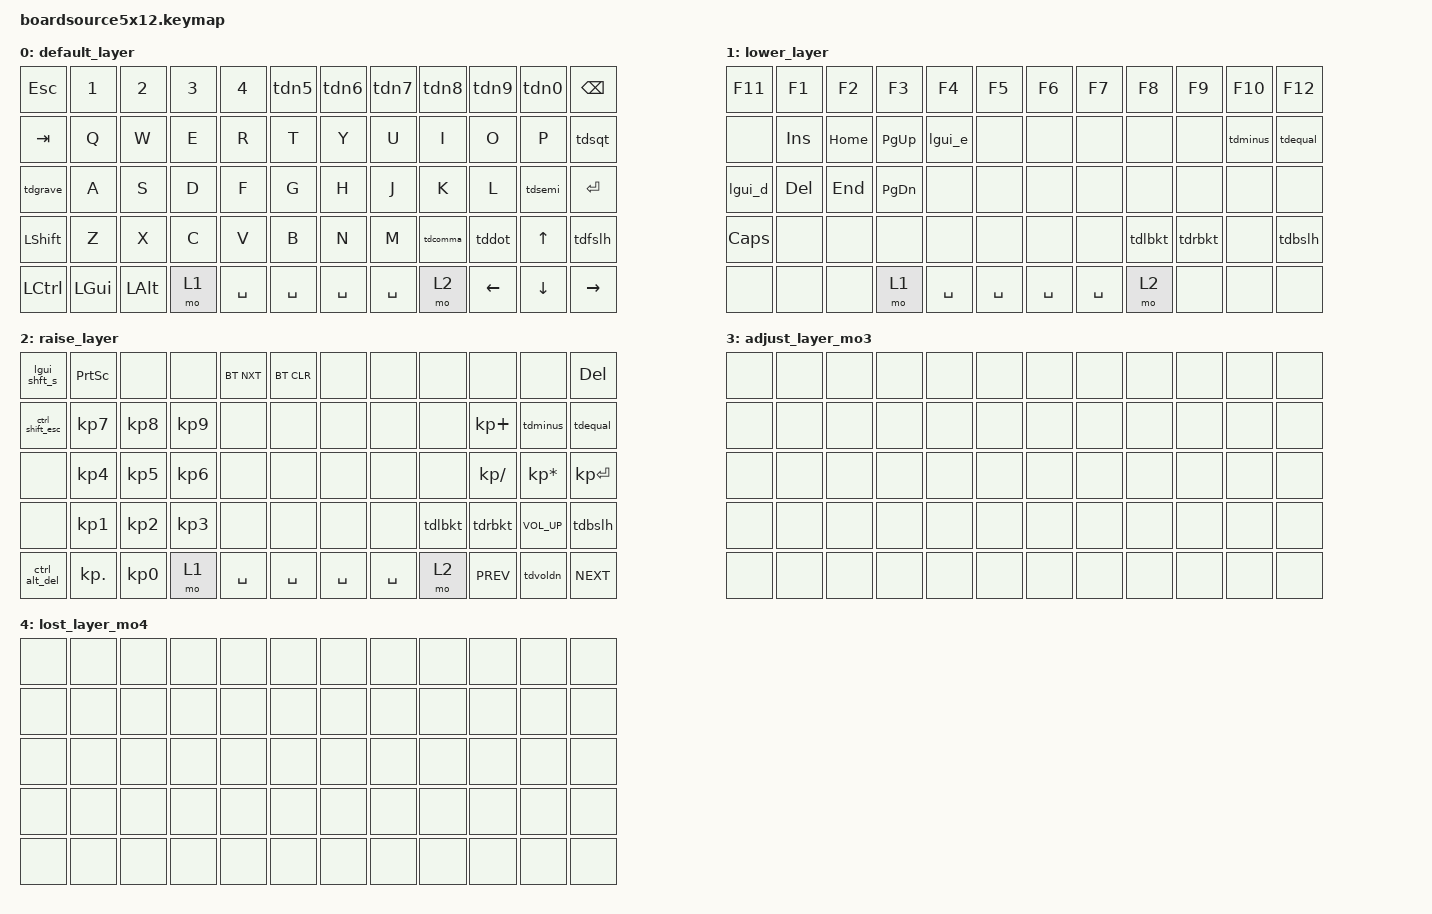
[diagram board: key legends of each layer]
/*
 * Copyright (c) 2021 The ZMK Contributors
 *
 * SPDX-License-Identifier: MIT
 */
 
#include <behaviors.dtsi>
#include <dt-bindings/zmk/keys.h>
#include <dt-bindings/zmk/bt.h>
#include <dt-bindings/zmk/outputs.h>


/ {

    behaviors {
    
        tdn5: tap_dance_n5 {
            compatible = "zmk,behavior-tap-dance";
            label = "TAP_DANCE_N5";
            #binding-cells = <0>;
            tapping-term-ms = <180>;
            bindings = <&kp N5>, <&kp PRCNT>;
        };
        
        tdn6: tap_dance_n6 {
            compatible = "zmk,behavior-tap-dance";
            label = "TAP_DANCE_N6";
            #binding-cells = <0>;
            tapping-term-ms = <180>;
            bindings = <&kp N6>, <&kp CARET>;
        };
        
        tdn7: tap_dance_n7 {
            compatible = "zmk,behavior-tap-dance";
            label = "TAP_DANCE_N7";
            #binding-cells = <0>;
            tapping-term-ms = <180>;
            bindings = <&kp N7>, <&kp AMPS>;
        };
        
        tdn8: tap_dance_n8 {
            compatible = "zmk,behavior-tap-dance";
            label = "TAP_DANCE_N8";
            #binding-cells = <0>;
            tapping-term-ms = <180>;
            bindings = <&kp N8>, <&kp ASTRK>;
        };
        
        tdn9: tap_dance_n9 {
            compatible = "zmk,behavior-tap-dance";
            label = "TAP_DANCE_N9";
            #binding-cells = <0>;
            tapping-term-ms = <180>;
            bindings = <&kp N9>, <&kp LPAR>;
        };
        
        tdn0: tap_dance_n0 {
            compatible = "zmk,behavior-tap-dance";
            label = "TAP_DANCE_N0";
            #binding-cells = <0>;
            tapping-term-ms = <180>;
            bindings = <&kp N0>, <&kp RPAR>;
        };
        
        tdlshft: tap_dance_lshft {
            compatible = "zmk,behavior-tap-dance";
            label = "TAP_DANCE_LSHFT";
            #binding-cells = <0>;
            tapping-term-ms = <180>;
            bindings = <&kp LSHFT>, <&kp CAPS>;
        };
        
        tdminus: tap_dance_minus {
            compatible = "zmk,behavior-tap-dance";
            label = "TAP_DANCE_MINUS";
            #binding-cells = <0>;
            tapping-term-ms = <180>;
            bindings = <&kp MINUS>, <&kp UNDER>;
        };
        
        tdequal: tap_dance_equal {
            compatible = "zmk,behavior-tap-dance";
            label = "TAP_DANCE_EQUAL";
            #binding-cells = <0>;
            tapping-term-ms = <180>;
            bindings = <&kp EQUAL>, <&kp PLUS>;
        };
        
        tdlbkt: tap_dance_lbkt {
            compatible = "zmk,behavior-tap-dance";
            label = "TAP_DANCE_LBKT";
            #binding-cells = <0>;
            tapping-term-ms = <180>;
            bindings = <&kp LBKT>, <&kp LBRC>;
        };
        
        tdrbkt: tap_dance_rbkt {
            compatible = "zmk,behavior-tap-dance";
            label = "TAP_DANCE_RBKT";
            #binding-cells = <0>;
            tapping-term-ms = <180>;
            bindings = <&kp RBKT>, <&kp RBRC>;
        };
        
        tdfslh: tap_dance_fslh {
            compatible = "zmk,behavior-tap-dance";
            label = "TAP_DANCE_FSLH";
            #binding-cells = <0>;
            tapping-term-ms = <180>;
            bindings = <&kp FSLH>, <&kp QMARK>;
        };
        
        tdbslh: tap_dance_bslh {
            compatible = "zmk,behavior-tap-dance";
            label = "TAP_DANCE_BSLH";
            #binding-cells = <0>;
            tapping-term-ms = <180>;
            bindings = <&kp BSLH>, <&kp PIPE>;
        };
        
        tdgrave: tap_dance_grave {
            compatible = "zmk,behavior-tap-dance";
            label = "TAP_DANCE_GRAVE";
            #binding-cells = <0>;
            tapping-term-ms = <380>;
            bindings = <&kp GRAVE>, <&kp TILDE>;
        };
        
        tdcomma: tap_dance_comma {
            compatible = "zmk,behavior-tap-dance";
            label = "TAP_DANCE_COMMA";
            #binding-cells = <0>;
            tapping-term-ms = <180>;
            bindings = <&kp COMMA>, <&kp LT>;
        };
        
        tddot: tap_dance_dot {
            compatible = "zmk,behavior-tap-dance";
            label = "TAP_DANCE_DOT";
            #binding-cells = <0>;
            tapping-term-ms = <180>;
            bindings = <&kp DOT>, <&kp GT>;
        };
        
        tdsqt: tap_dance_sqt {
            compatible = "zmk,behavior-tap-dance";
            label = "TAP_DANCE_SQT";
            #binding-cells = <0>;
            tapping-term-ms = <180>;
            bindings = <&kp APOS>, <&kp DQT>;
        };
        
        tdsemi: tap_dance_semi {
            compatible = "zmk,behavior-tap-dance";
            label = "TAP_DANCE_SEMI";
            #binding-cells = <0>;
            tapping-term-ms = <180>;
            bindings = <&kp SEMI>, <&kp COLON>;
        };
        
        tdvoldn: tap_dance_voldn {
            compatible = "zmk,behavior-tap-dance";
            label = "TAP_DANCE_VOLDN";
            #binding-cells = <0>;
            tapping-term-ms = <180>;
            bindings = <&kp C_VOL_DN>, <&kp C_MUTE>;
        };
    };

    macros {
        ctrl_alt_del: ctrl_alt_del {
            label = "ZM_ctrl_alt_del";
            compatible = "zmk,behavior-macro";
            #binding-cells = <0>;
            bindings
                = <&macro_press   &kp LCTRL &kp LALT &kp DEL>
                , <&macro_release &kp LCTRL &kp LALT &kp DEL>
                ;
        };
        
        ctrl_shift_esc: ctrl_shift_esc {
            label = "ZM_ctrl_shift_esc";
            compatible = "zmk,behavior-macro";
            #binding-cells = <0>;
            bindings
                = <&macro_press   &kp LCTRL &kp LSHIFT &kp ESC>
                , <&macro_release &kp LCTRL &kp LSHIFT &kp ESC>
                ;
        };
        
        lgui_d: lgui_d {
            label = "ZM_lgui_d";
            compatible = "zmk,behavior-macro";
            #binding-cells = <0>;
            bindings
                = <&macro_press   &kp LGUI &kp D>
                , <&macro_release &kp LGUI &kp D>
                ;
        };
        
        lgui_shft_s: lgui_shft_s{
            label = "ZM_lgui_shft_s";
            compatible = "zmk,behavior-macro";
            #binding-cells = <0>;
            bindings
                = <&macro_press   &kp LGUI &kp LSHFT &kp S>
                , <&macro_release &kp LGUI &kp LSHFT &kp S>
                ;
        };
        
        lgui_e: lgui_e {
            label = "ZM_lgui_e";
            compatible = "zmk,behavior-macro";
            #binding-cells = <0>;
            bindings
                = <&macro_press   &kp LGUI &kp E>
                , <&macro_release &kp LGUI &kp E>
                ;
        };
  };
    
    keymap {
        compatible = "zmk,keymap";
        
        default_layer {
            // ------------------------------------------------------------------------------------------
            // |  ESC  |  1*  |  2*  |  3*  |     4*    |   5*  |   6*   |    7*    |  8*  |  9*  |   0*  | BSPC  |
            // |  TAB  |  Q   |  W   |  E   |     R     |   T   |   Y    |    U     |  I   |  O   |   P   |   '*  |
            // |   `*  |  A   |  S   |  D   |     F     |   G   |   H    |    J     |  K   |  L   |   ;*  | ENTER |
            // | SHIFT |  Z   |  X   |  C   |     V     |   B   |   N    |    M     |  ,*  |  .*  | UARW  |  /*   |
            // | LCTL  | LGUI | LALT | LOWR | 2uSpace(a)|4uSpace|  N/A** |2uSpace(b)| RAIS | LARW | DARW  | RARW  |


            bindings = <
                &kp ESC    &kp N1       &kp N2      &kp N3   &kp N4     &tdn5       &tdn6       &tdn7      &tdn8       &tdn9       &tdn0       &kp BSPC
                &kp TAB    &kp Q        &kp W       &kp E    &kp R      &kp T       &kp Y       &kp U      &kp I       &kp O       &kp P       &tdsqt
                &tdgrave   &kp A        &kp S       &kp D    &kp F      &kp G       &kp H       &kp J      &kp K       &kp L       &tdsemi     &kp RET
                &kp LSHFT  &kp Z        &kp X       &kp C    &kp V      &kp B       &kp N       &kp M      &tdcomma    &tddot      &kp UP      &tdfslh
                &kp LCTRL  &kp LGUI     &kp LALT    &mo 1    &kp SPACE  &kp SPACE   &kp SPACE   &kp SPACE  &mo 2       &kp LEFT    &kp DOWN    &kp RIGHT 
            >;
        };

        lower_layer {
            // -------------------------------------------------------------------------------------------
            // |  F11   |   F1  |  F2   |  F3   |  F4      |  F5   |  F6    |   F7     |  F8  |  F9  |  F10  |  F12  |
            // |        |  INS  |  HOME | PG UP | File Exp*|       |        |          |      |      |  -*   |  =*   |
            // | win+d* |  DEL  |  END  | PG DN |          |       |        |          |      |      |       |       |
            // |  CAPS  |       |       |       |          |       |        |          |  [*  |  ]*  |       |   \*  |
            // |        |       |       | LOWR  |2uSpace(a)|4uSpace|  N/A** |2uSpace(b)| RAIS |      |       |       |
            bindings = <
                &kp F11    &kp F1      &kp F2      &kp F3    &kp F4     &kp F5      &kp F6      &kp F7       &kp F8    &kp F9     &kp F10    &kp F12
                &none      &kp INS     &kp HOME    &kp PG_UP &lgui_e    &none       &none       &none        &none     &none      &tdminus   &tdequal
                &lgui_d    &kp DEL     &kp END     &kp PG_DN &none      &none       &none       &none        &none     &none      &none      &none
                &kp CAPS   &none       &none       &none     &none      &none       &none       &none        &tdlbkt   &tdrbkt    &none      &tdbslh
                &none      &none       &none       &mo 1     &kp SPACE  &kp SPACE   &kp SPACE   &kp SPACE    &mo 2     &none      &none      &none
            >;
        };

        raise_layer {
            // ------------------------------------------------------------------------------------------
            // | PSCRN*| PSCRN |       |       |          |BT_NXT | BT_CLR |          |      |      |        |    DEL   |
            // | C_S_E |   7   |   8   |   9   |          |       |        |          |      |   +  |   -*   |     =*   |
            // |       |   4   |   5   |   6   |          |       |        |          |      |   /  |   *    | KP ENTER |
            // |       |   1   |   2   |   3   |          |       |        |          |  [*  |  ]*  | VOL UP |    \*    |
            // | C_A_D |   .   |   0   | LOWR  |2uSpace(a)|4uSpace|  N/A** |2uSpace(b)| RAIS | PREV | VOL DN*|   NEXT   |
            bindings = <
                &lgui_shft_s    &kp PSCRN     &none      &none      &bt BT_NXT &bt BT_CLR   &none       &none        &none     &none         &none            &kp DEL
                &ctrl_shift_esc &kp KP_N7     &kp KP_N8  &kp KP_N9  &none      &none        &none       &none        &none     &kp KP_PLUS   &tdminus         &tdequal
                &none           &kp KP_N4     &kp KP_N5  &kp KP_N6  &none      &none        &none       &none        &none     &kp KP_DIVIDE &kp KP_MULTIPLY  &kp KP_ENTER
                &none           &kp KP_N1     &kp KP_N2  &kp KP_N3  &none      &none        &none       &none        &tdlbkt   &tdrbkt       &kp C_VOL_UP     &tdbslh
                &ctrl_alt_del   &kp KP_DOT    &kp KP_N0  &mo 1      &kp SPACE  &kp SPACE    &kp SPACE   &kp SPACE    &mo 2     &kp C_PREV    &tdvoldn         &kp C_NEXT
            >;
        };

        adjust_layer_mo3 {
            // -----------------------------------------------------------------------------------------------
            // |      |       |       |       |          |       |        |          |       |       |       |       |
            // |      |       |       |       |          |       |        |          |       |       |       |       |
            // |      |       |       |       |          |       |        |          |       |       |       |       |
            // |      |       |       |       |          |       |        |          |       |       |       |       |
            // |      |       |       |       |2uSpace(a)|4uSpace|  N/A** |2uSpace(b)|       |       |       |       |
            bindings = <
                &none    &none    &none    &none    &none    &none    &none    &none    &none    &none    &none    &none 
                &none    &none    &none    &none    &none    &none    &none    &none    &none    &none    &none    &none 
                &none    &none    &none    &none    &none    &none    &none    &none    &none    &none    &none    &none 
                &none    &none    &none    &none    &none    &none    &none    &none    &none    &none    &none    &none 
                &none    &none    &none    &none    &none    &none    &none    &none    &none    &none    &none    &none 
            >;
        };

        lost_layer_mo4 {
            // -----------------------------------------------------------------------------------------------
            // |      |       |       |       |          |       |        |          |       |       |       |       |
            // |      |       |       |       |          |       |        |          |       |       |       |       |
            // |      |       |       |       |          |       |        |          |       |       |       |       |
            // |      |       |       |       |          |       |        |          |       |       |       |       |
            // |      |       |       |       |2uSpace(a)|4uSpace|  N/A** |2uSpace(b)|       |       |       |       |
            bindings = <
                &none    &none    &none    &none    &none    &none    &none    &none    &none    &none    &none    &none    
                &none    &none    &none    &none    &none    &none    &none    &none    &none    &none    &none    &none 
                &none    &none    &none    &none    &none    &none    &none    &none    &none    &none    &none    &none 
                &none    &none    &none    &none    &none    &none    &none    &none    &none    &none    &none    &none 
                &none    &none    &none    &none    &none    &none    &none    &none    &none    &none    &none    &none 
            >;
        };
    };
};
